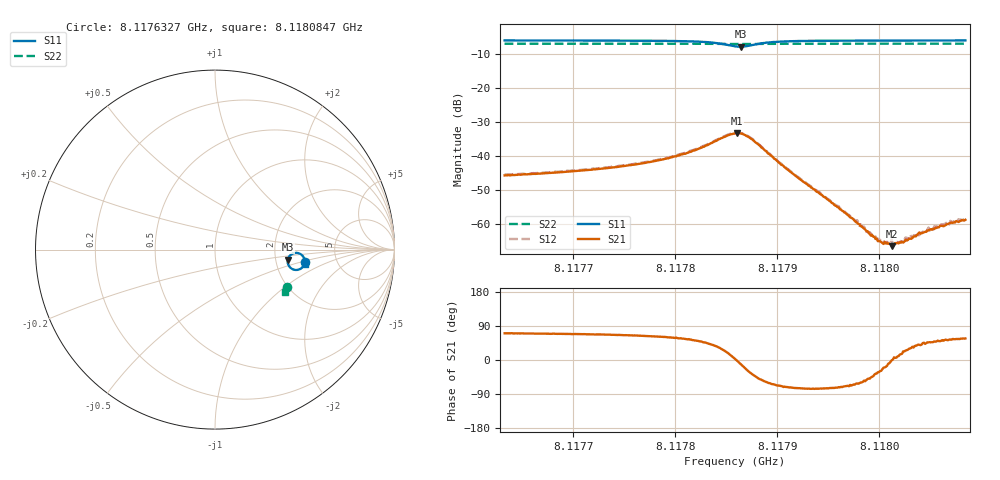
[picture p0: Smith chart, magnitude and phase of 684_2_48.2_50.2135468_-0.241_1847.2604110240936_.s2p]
#  HZ  S  RI  R  50.00
! Rohde & Schwarz Vector Network Analyzer
! Rohde-Schwarz,ZNB20-2Port,1311601062101988,3.16
! Created: UTC 3/20/2024, 12:06:45 PM
! freq[Hz]  re:S11  im:S11  re:S21  im:S21  re:S12  im:S12  re:S22  im:S22
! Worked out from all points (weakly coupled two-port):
!   401 points, 8.1176327 GHz to 8.1180847 GHz, reference 50 ohm
!   highest |S21| = -33.30 dB at 8.117861 GHz (marker M1); lowest = -66.6 dB at 8.1180124 GHz (marker M2)
!   lowest |S11| = -7.8 dB at 8.1178643 GHz (marker M3), VSWR 2.39, Z = 117 - j15.9 ohm
!   |S11| at or under -10 dB: nowhere
!   |S22| runs from -7.0 to -6.9 dB; largest |S21 - S12| = 0.00069
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8.11763267e9  0.5023 -0.0665  0.00173 0.00485  0.00177 0.005  0.4013 -0.21
8.11770839e9  0.4997 -0.0764  0.00227 0.00564  0.00235 0.00577  0.3988 -0.215
8.11775359e9  0.4968 -0.0843  0.00303 0.00655  0.00306 0.00671  0.3972 -0.218
8.11778411e9  0.4921 -0.0923  0.0041 0.00764  0.00423 0.00779  0.396 -0.2201
8.11781236e9  0.4822 -0.103  0.00648 0.00906  0.00665 0.00936  0.3945 -0.2222
8.117844e9  0.4417 -0.1123  0.0152 0.00936  0.0157 0.00944  0.3917 -0.2239
8.1178587e9  0.4072 -0.081  0.0214 0.00112  0.022 0.00114  0.3901 -0.2229
8.11786096e9  0.405 -0.0716  0.0216 -0.000939  0.0221 -0.00112  0.3901 -0.2226
8.11786435e9  0.4055 -0.0566  0.0211 -0.00404  0.0214 -0.00437  0.3903 -0.2222
8.11787565e9  0.4335 -0.0222  0.0138 -0.0108  0.014 -0.011  0.3915 -0.2215
8.11789825e9  0.4816 -0.0283  0.00374 -0.00814  0.00367 -0.00819  0.3929 -0.2238
8.11793441e9  0.4978 -0.051  0.000829 -0.00325  0.000856 -0.0033  0.3922 -0.227
8.11796267e9  0.5001 -0.0607  0.000529 -0.00153  0.000491 -0.00157  0.3914 -0.2292
8.11798979e9  0.5007 -0.0671  0.000481 -0.000555  0.000488 -0.000533  0.3904 -0.2311
8.11800109e9  0.5008 -0.0692  0.00048 -0.00027  0.000494 -0.000292  0.39 -0.2318
8.11801013e9  0.5009 -0.0708  0.000505 -7.49e-05  0.000501 -9.83e-05  0.3898 -0.2326
8.11801239e9  0.5007 -0.0713  0.000465 -6.56e-06  0.000578 -5.11e-05  0.3897 -0.2328
8.11801917e9  0.5008 -0.0723  0.000506 9.19e-05  0.0005 0.000101  0.3895 -0.2332
8.11802482e9  0.5008 -0.0733  0.0005 0.000208  0.000543 0.000191  0.3892 -0.2335
8.11803952e9  0.5005 -0.0754  0.000567 0.000477  0.000511 0.000445  0.3886 -0.2345
8.11805986e9  0.5004 -0.0782  0.000602 0.000711  0.000579 0.000714  0.388 -0.2358
8.11808472e9  0.5002 -0.0812  0.000625 0.000955  0.000668 0.00101  0.3873 -0.2373
